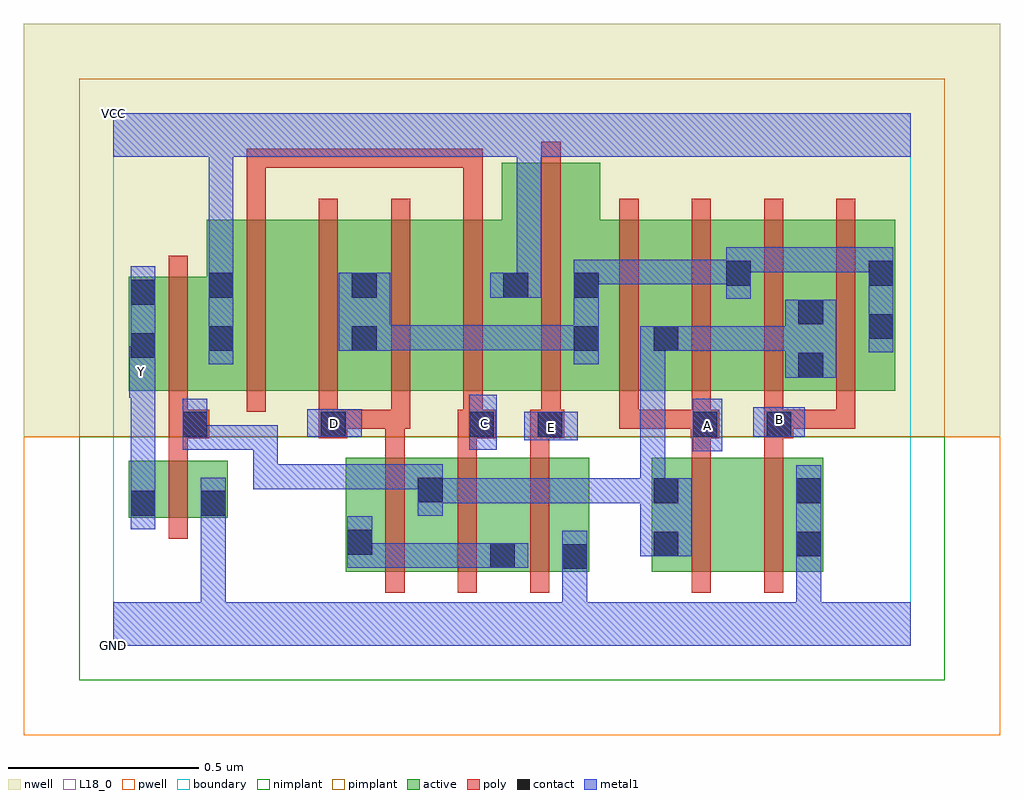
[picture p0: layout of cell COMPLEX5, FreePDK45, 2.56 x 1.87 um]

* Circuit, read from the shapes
.subckt COMPLEX5 A B C D E GND VCC Y
M1 GND n1 Y VSUBS nfet w=0.15u l=0.05u
M2 n1 D n2 VSUBS nfet w=0.3u l=0.05u
M3 n2 C n1 VSUBS nfet w=0.3u l=0.05u
M4 GND E n2 VSUBS nfet w=0.3u l=0.05u
M5 n3 A n1 VSUBS nfet w=0.3u l=0.05u
M6 GND B n3 VSUBS nfet w=0.3u l=0.05u
M7 VCC n1 Y n4 pfet w=0.3u l=0.05u
M8 n5 C VCC n4 pfet w=0.45u l=0.05u
M9 n6 D n5 n4 pfet w=0.45u l=0.05u
M10 n7 D n6 n4 pfet w=0.45u l=0.05u
M11 VCC C n7 n4 pfet w=0.45u l=0.05u
M12 n6 E VCC n4 pfet w=0.6u l=0.05u
M13 n1 A n6 n4 pfet w=0.45u l=0.05u m=2
M14 n1 B n6 n4 pfet w=0.45u l=0.05u m=2
.ends

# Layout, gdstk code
import gdstk
lib = gdstk.Library(unit=1e-6, precision=1e-09)
def R(c, l, rs):  # rectangles x0, y0, x1, y1
    for r in rs: c.add(gdstk.rectangle(r[:2], r[2:], *l))
def A(c, l, x, y, w, h, nx, ny, dx, dy):  # array of equal rectangles
    R(c, l, [(x+i*dx, y+j*dy, x+i*dx+w, y+j*dy+h) for i in range(nx) for j in range(ny)])
active = (1, 0)
pwell = (2, 0)
nwell = (3, 0)
nimplant = (4, 0)
pimplant = (5, 0)
poly = (9, 0)
contact = (10, 0)
metal1 = (11, 0)
L18_0 = (18, 0)
boundary = (235, 0)

complex5 = lib.new_cell('COMPLEX5')
R(complex5, active, [(0.61,0.195,0.685,0.495), (0.61,0.195,0.87,0.495), (0.795,0.195,1.06,0.495), (0.795,0.195,0.87,0.447), (0.985,0.195,1.25,0.495), (0.985,0.195,1.06,0.392), (1.175,0.195,1.25,0.495), (1.415,0.195,1.64,0.495), (1.415,0.195,1.52,0.495), (1.64,0.195,1.865,0.495), (1.79,0.195,1.865,0.495), (0.04,0.337,0.115,0.487), (0.04,0.337,0.3,0.487), (0.225,0.337,0.3,0.487), (0.04,0.67,0.115,0.97), (0.04,0.67,0.32,0.97), (0.245,0.67,0.47,1.12), (0.245,0.67,0.32,0.985), (0.47,0.67,0.697,1.12), (0.622,0.67,0.85,1.12), (0.622,0.67,0.697,1.12), (0.85,0.67,1.095,1.12), (1.02,0.67,1.28,1.27), (1.205,0.67,1.49,1.12), (1.415,0.67,1.49,1.055), (1.415,0.67,1.68,1.12), (1.605,0.67,1.87,1.12), (1.795,0.67,2.055,1.12), (1.795,0.67,1.87,1.055), (1.98,0.67,2.055,1.112), (1.205,0.68,1.28,1.2), (1.605,0.702,1.68,1.112), (1.02,0.725,1.095,1.087)])
R(complex5, pwell, [(-0.235,-0.235,2.33,0.55)])
R(complex5, nwell, [(-0.235,0.55,2.33,1.635)])
R(complex5, nimplant, [(-0.09,-0.09,2.185,0.55)])
R(complex5, pimplant, [(-0.09,0.55,2.185,1.49)])
A(complex5, poly, 0.715, 0.14, 0.05, 0.41, 3, 1, 0.19, 0)
A(complex5, poly, 0.54, 0.57, 0.05, 0.095, 3, 1, 0.19, 0)
A(complex5, poly, 1.33, 0.57, 0.05, 0.095, 4, 1, 0.19, 0)
A(complex5, poly, 0.35, 0.615, 0.05, 0.56, 4, 1, 0.19, 0)
A(complex5, poly, 1.33, 0.615, 0.05, 0.56, 4, 1, 0.19, 0)
R(complex5, poly, [(1.52,0.14,1.57,0.55), (1.71,0.14,1.76,0.55), (0.145,0.282,0.195,0.542), (0.145,0.492,0.195,0.595), (0.715,0.5,0.765,0.62), (0.905,0.5,0.955,0.595), (1.095,0.5,1.145,0.595), (1.52,0.5,1.57,0.595), (1.71,0.5,1.76,0.595), (0.145,0.545,0.252,0.62), (0.54,0.545,0.615,0.62), (0.905,0.545,1.005,0.62), (1.095,0.545,1.185,0.62), (1.517,0.545,1.592,0.62), (1.71,0.545,1.787,0.62), (0.145,0.57,0.195,0.665), (0.565,0.57,0.615,0.62), (0.565,0.57,0.615,0.62), (0.565,0.57,0.765,0.62), (0.715,0.57,0.78,0.62), (1.125,0.57,1.175,0.665), (1.33,0.57,1.38,0.62), (1.33,0.57,1.567,0.62), (1.517,0.57,1.567,0.62), (1.517,0.57,1.567,0.62), (1.737,0.57,1.95,0.62), (1.9,0.57,1.95,0.62), (1.9,0.57,1.95,0.62), (1.9,0.57,1.95,0.62), (0.145,0.615,0.195,1.025), (1.125,0.615,1.175,1.325), (0.35,1.125,0.4,1.307), (0.92,1.125,0.97,1.307), (0.35,1.257,0.4,1.307), (0.35,1.257,0.4,1.307), (0.35,1.257,0.4,1.307), (0.35,1.257,0.632,1.307), (0.582,1.257,0.632,1.307), (0.582,1.257,0.632,1.307), (0.582,1.257,0.632,1.307), (0.582,1.257,0.765,1.307), (0.715,1.257,0.765,1.307), (0.715,1.257,0.97,1.307), (0.92,1.257,0.97,1.307), (0.92,1.257,0.97,1.307), (0.92,1.257,0.97,1.307)])
R(complex5, contact, [(1.18,0.202,1.245,0.267), (0.99,0.205,1.055,0.27), (1.42,0.235,1.485,0.3), (1.795,0.235,1.86,0.3), (0.615,0.24,0.68,0.305), (0.045,0.342,0.11,0.407), (0.23,0.342,0.295,0.407), (1.42,0.375,1.485,0.44), (1.795,0.375,1.86,0.44), (0.8,0.377,0.865,0.442), (0.182,0.55,0.247,0.615), (0.545,0.55,0.61,0.615), (0.935,0.55,1,0.615), (1.115,0.55,1.18,0.615), (1.522,0.55,1.587,0.615), (1.717,0.55,1.782,0.615), (1.8,0.705,1.865,0.77), (0.045,0.757,0.11,0.822), (0.25,0.775,0.315,0.84), (0.627,0.775,0.692,0.84), (1.21,0.775,1.275,0.84), (1.42,0.775,1.485,0.84), (1.985,0.807,2.05,0.872), (1.8,0.845,1.865,0.91), (0.045,0.897,0.11,0.962), (0.25,0.915,0.315,0.98), (0.627,0.915,0.692,0.98), (1.025,0.915,1.09,0.98), (1.21,0.915,1.275,0.98), (1.61,0.947,1.675,1.012), (1.985,0.947,2.05,1.012)])
R(complex5, metal1, [(0,0,2.095,0.115), (0.23,0.05,0.295,0.115), (0.23,0.05,0.295,0.115), (0.23,0.05,0.295,0.115), (0.23,0.05,0.295,0.115), (0.23,0.05,0.295,0.372), (1.18,0.05,1.245,0.115), (1.18,0.05,1.245,0.115), (1.18,0.05,1.245,0.232), (1.795,0.05,1.86,0.115), (1.795,0.05,1.86,0.115), (1.795,0.05,1.86,0.265), (1.18,0.167,1.245,0.302), (1.795,0.2,1.86,0.475), (0.615,0.205,0.68,0.27), (0.615,0.205,0.68,0.27), (0.615,0.205,0.68,0.34), (0.615,0.205,0.865,0.27), (0.8,0.205,0.865,0.27), (0.8,0.205,0.865,0.27), (0.8,0.205,0.865,0.27), (0.8,0.205,1.02,0.27), (0.955,0.205,1.09,0.27), (1.385,0.235,1.52,0.44), (0.045,0.307,0.11,0.442), (0.23,0.307,0.295,0.442), (0.8,0.342,0.865,0.477), (0.8,0.375,0.865,0.44), (0.8,0.375,0.865,0.44), (0.8,0.375,1.102,0.44), (1.037,0.375,1.102,0.44), (1.037,0.375,1.102,0.44), (1.037,0.375,1.102,0.44), (1.037,0.375,1.312,0.44), (1.247,0.375,1.312,0.44), (1.247,0.375,1.312,0.44), (1.247,0.375,1.312,0.44), (1.247,0.375,1.45,0.44), (1.385,0.375,1.45,0.84), (0.045,0.377,0.11,0.717), (0.367,0.412,0.432,0.477), (0.367,0.412,0.542,0.477), (0.367,0.412,0.432,0.58), (0.477,0.412,0.542,0.477), (0.477,0.412,0.695,0.477), (0.63,0.412,0.695,0.477), (0.63,0.412,0.695,0.477), (0.63,0.412,0.695,0.477), (0.63,0.412,0.865,0.477), (1.522,0.512,1.6,0.65), (0.182,0.515,0.247,0.58), (0.182,0.515,0.247,0.58), (0.182,0.515,0.385,0.58), (0.182,0.515,0.247,0.65), (0.32,0.515,0.385,0.58), (0.32,0.515,0.432,0.58), (0.367,0.515,0.432,0.58), (0.935,0.515,1.007,0.66), (1.08,0.54,1.22,0.615), (0.51,0.55,0.652,0.622), (1.682,0.55,1.817,0.627), (0.042,0.652,0.11,0.787), (1.765,0.705,1.9,0.91), (0.045,0.722,0.11,0.787), (0.045,0.722,0.11,0.997), (0.25,0.74,0.315,1.015), (1.21,0.74,1.275,1.015), (1.985,0.772,2.05,1.047), (0.592,0.775,0.727,0.98), (1.385,0.775,1.45,0.84), (1.385,0.775,1.45,0.84), (1.385,0.775,1.52,0.84), (1.455,0.775,1.52,0.84), (1.455,0.775,1.52,0.84), (1.455,0.775,1.692,0.84), (1.627,0.775,1.692,0.84), (1.627,0.775,1.83,0.84), (1.765,0.775,1.83,0.84), (1.765,0.775,1.83,0.84), (0.662,0.777,0.727,0.842), (0.662,0.777,0.727,0.842), (0.662,0.777,0.865,0.842), (0.8,0.777,0.865,0.842), (0.8,0.777,0.865,0.842), (0.8,0.777,0.865,0.842), (0.8,0.777,1.035,0.842), (0.97,0.777,1.035,0.842), (0.97,0.777,1.035,0.842), (0.97,0.777,1.035,0.842), (0.97,0.777,1.275,0.842), (1.61,0.912,1.675,1.047), (0.99,0.915,1.125,0.98), (1.06,0.915,1.125,1.35), (0.25,0.95,0.315,1.35), (1.21,0.95,1.275,1.015), (1.21,0.95,1.275,1.015), (1.21,0.95,1.275,1.015), (1.21,0.95,1.275,1.015), (1.21,0.95,1.537,1.015), (1.472,0.95,1.537,1.015), (1.472,0.95,1.537,1.015), (1.472,0.95,1.537,1.015), (1.472,0.95,1.675,1.015), (1.61,0.982,1.83,1.047), (1.765,0.982,1.83,1.047), (1.765,0.982,1.83,1.047), (1.765,0.982,1.83,1.047), (1.765,0.982,2.05,1.047), (1.985,0.982,2.05,1.047), (1.985,0.982,2.05,1.047), (0,1.285,2.095,1.4), (0.25,1.285,0.315,1.35), (0.25,1.285,0.315,1.35)])
R(complex5, L18_0, [(0,0,2.095,0.115), (0.23,0.05,0.295,0.115), (0.23,0.05,0.295,0.115), (0.23,0.05,0.295,0.115), (0.23,0.05,0.295,0.115), (0.23,0.05,0.295,0.372), (1.18,0.05,1.245,0.115), (1.18,0.05,1.245,0.115), (1.18,0.05,1.245,0.232), (1.795,0.05,1.86,0.115), (1.795,0.05,1.86,0.115), (1.795,0.05,1.86,0.265), (1.18,0.167,1.245,0.302), (1.795,0.2,1.86,0.475), (0.045,0.307,0.11,0.442), (0.23,0.307,0.295,0.442), (0.045,0.377,0.11,0.717), (1.522,0.512,1.6,0.65), (0.935,0.515,1.007,0.66), (1.08,0.54,1.22,0.615), (1.117,0.542,1.182,0.607), (1.527,0.547,1.592,0.612), (0.51,0.55,0.652,0.622), (1.682,0.55,1.817,0.627), (0.547,0.552,0.612,0.617), (0.942,0.552,1.007,0.617), (1.717,0.562,1.782,0.627), (0.042,0.652,0.11,0.787), (0.042,0.687,0.107,0.752), (0.045,0.722,0.11,0.997), (0.045,0.722,0.11,0.787), (0.25,0.74,0.315,1.015), (0.99,0.915,1.125,0.98), (1.06,0.915,1.125,1.35), (0.25,0.95,0.315,1.35), (0,1.285,2.095,1.4), (0.25,1.285,0.315,1.35), (0.25,1.285,0.315,1.35)])
R(complex5, boundary, [(0,0,2.095,1.4)])
complex5.add(gdstk.Label('A', (1.56,0.58), layer=11, texttype=0))
complex5.add(gdstk.Label('B', (1.75,0.595), layer=11, texttype=0))
complex5.add(gdstk.Label('C', (0.975,0.585), layer=11, texttype=0))
complex5.add(gdstk.Label('D', (0.58,0.585), layer=11, texttype=0))
complex5.add(gdstk.Label('E', (1.15,0.575), layer=11, texttype=0))
complex5.add(gdstk.Label('Y', (0.075,0.72), layer=11, texttype=0))
complex5.add(gdstk.Label('VCC', (0,1.4), layer=11, texttype=0))
complex5.add(gdstk.Label('GND', (0,0), layer=11, texttype=0))

lib.write_gds('COMPLEX5.gds')
